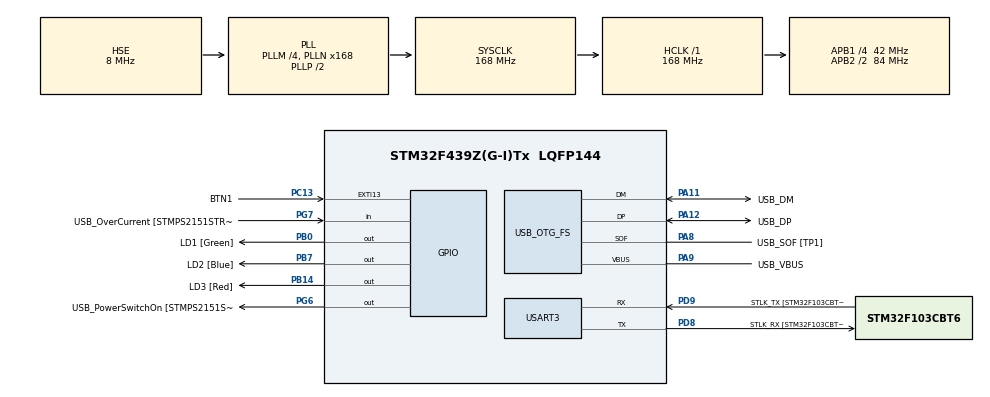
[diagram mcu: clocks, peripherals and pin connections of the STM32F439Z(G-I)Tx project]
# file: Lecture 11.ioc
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Mcu.Family=STM32F4
Mcu.Name=STM32F439Z(G-I)Tx
Mcu.Package=LQFP144
NVIC.OTG_FS_IRQn=true\:0\:0\:false\:false\:true\:false\:true\:true
NVIC.PriorityGroup=NVIC_PRIORITYGROUP_4
PA1.GPIO_Label=RMII_REF_CLK [LAN8742A-CZ-TR_REFCLK0]
PA1.Signal=ETH_REF_CLK
PA10.GPIO_Label=USB_ID
PA10.Signal=USB_OTG_FS_ID
PA11.GPIO_Label=USB_DM
PA11.Mode=Device_Only
PA11.Signal=USB_OTG_FS_DM
PA12.GPIO_Label=USB_DP
PA12.Mode=Device_Only
PA12.Signal=USB_OTG_FS_DP
PA13.GPIO_Label=TMS
PA13.Mode=Serial_Wire
PA13.Signal=SYS_JTMS-SWDIO
PA14.GPIO_Label=TCK
PA14.Mode=Serial_Wire
PA14.Signal=SYS_JTCK-SWCLK
PA2.GPIO_Label=RMII_MDIO [LAN8742A-CZ-TR_MDIO]
PA2.Signal=ETH_MDIO
PA7.GPIO_Label=RMII_CRS_DV [LAN8742A-CZ-TR_CRS_DV]
PA7.Signal=ETH_CRS_DV
PA8.GPIO_Label=USB_SOF [TP1]
PA8.Mode=Activate_SOF_FS
PA8.Signal=USB_OTG_FS_SOF
PA9.GPIO_Label=USB_VBUS
PA9.Mode=Activate_VBUS
PA9.Signal=USB_OTG_FS_VBUS
PB0.GPIO_Label=LD1 [Green]
PB0.Signal=GPIO_Output
PB13.GPIO_Label=RMII_TXD1 [LAN8742A-CZ-TR_TXD1]
PB13.Signal=ETH_TXD1
PB14.GPIO_Label=LD3 [Red]
PB14.Signal=GPIO_Output
PB7.GPIO_Label=LD2 [Blue]
PB7.Signal=GPIO_Output
PC1.GPIO_Label=RMII_MDC [LAN8742A-CZ-TR_MDC]
PC1.Signal=ETH_MDC
PC13.GPIO_Label=BTN1
PC13.Signal=GPXTI13
PC14/OSC32_IN.Mode=LSE-External-Oscillator
PC14/OSC32_IN.Signal=RCC_OSC32_IN
PC15/OSC32_OUT.Mode=LSE-External-Oscillator
PC15/OSC32_OUT.Signal=RCC_OSC32_OUT
PC4.GPIO_Label=RMII_RXD0 [LAN8742A-CZ-TR_RXD0]
PC4.Signal=ETH_RXD0
PC5.GPIO_Label=RMII_RXD1 [LAN8742A-CZ-TR_RXD1]
PC5.Signal=ETH_RXD1
PD8.GPIO_Label=STLK_RX [STM32F103CBT6_PA3]
PD8.Mode=Asynchronous
PD8.Signal=USART3_TX
PD9.GPIO_Label=STLK_TX [STM32F103CBT6_PA2]
PD9.Mode=Asynchronous
PD9.Signal=USART3_RX
PG11.GPIO_Label=RMII_TX_EN [LAN8742A-CZ-TR_TXEN]
PG11.Signal=ETH_TX_EN
PG13.GPIO_Label=RMII_TXD0 [LAN8742A-CZ-TR_TXD0]
PG13.Signal=ETH_TXD0
PG6.GPIO_Label=USB_PowerSwitchOn [STMPS2151STR_EN]
PG6.Signal=GPIO_Output
PG7.GPIO_Label=USB_OverCurrent [STMPS2151STR_FAULT]
PG7.Signal=GPIO_Input
PH0/OSC_IN.GPIO_Label=MCO [STM32F103CBT6_PA8]
PH0/OSC_IN.Mode=HSE-External-Clock-Source
PH0/OSC_IN.Signal=RCC_OSC_IN
PH1/OSC_OUT.Mode=HSE-External-Clock-Source
PH1/OSC_OUT.Signal=RCC_OSC_OUT
ProjectManager.HeapSize=0x200
ProjectManager.StackSize=0x400
ProjectManager.TargetToolchain=STM32CubeIDE
RCC.48MHZClocksFreq_Value=48000000
RCC.AHBFreq_Value=168000000
RCC.APB1CLKDivider=RCC_HCLK_DIV4
RCC.APB1Freq_Value=42000000
RCC.APB1TimFreq_Value=84000000
RCC.APB2CLKDivider=RCC_HCLK_DIV2
RCC.APB2Freq_Value=84000000
RCC.APB2TimCLKDivider=2
RCC.APB2TimFreq_Value=168000000
RCC.CortexFreq_Value=168000000
RCC.HCLKFreq_Value=168000000
RCC.HSE_VALUE=8000000
RCC.HSI_VALUE=16000000
RCC.PLLM=4
RCC.PLLMUL=RCC_PLL_MUL9
RCC.PLLN=168
RCC.PLLQ=7
RCC.PRESCALERUSB=RCC_USBCLKSOURCE_PLL_DIV1_5
RCC.SYSCLKFreq_VALUE=168000000
RCC.SYSCLKSource=RCC_SYSCLKSOURCE_PLLCLK
RCC.SYSCLKSourceVirtual=RCC_SYSCLKSOURCE_PLLCLK
RCC.USBFreq_Value=48000000
RCC.VCOOutputFreq_Value=336000000
USART3.VirtualMode=VM_ASYNC
USB_DEVICE.CLASS_NAME_FS=HID
USB_DEVICE.VirtualMode-HID_FS=Hid
USB_DEVICE.VirtualModeFS=Hid_FS
USB_OTG_FS.VirtualMode=Device_Only
VP_USB_DEVICE_VS_USB_DEVICE_HID_FS.Mode=HID_FS
board=NUCLEO-F439ZI

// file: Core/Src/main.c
/* USER CODE BEGIN Header */
/**
  ******************************************************************************
  * @file           : main.c
  * @brief          : Main program body
  ******************************************************************************
  * @attention
  *
  * Copyright (c) 2024 STMicroelectronics.
  * All rights reserved.
  *
  * This software is licensed under terms that can be found in the LICENSE file
  * in the root directory of this software component.
  * If no LICENSE file comes with this software, it is provided AS-IS.
  *
  ******************************************************************************
  */
/* USER CODE END Header */
#include "main.h"
#include "usb_device.h"

/* USER CODE BEGIN Includes */
#include "usbd_hid.h"
#include <math.h>
#include <stdbool.h>
/* USER CODE END Includes */

/* USER CODE BEGIN PD */
#define BTN_PRESSED 1
#define BTN_RELEASED 0
/* USER CODE END PD */

UART_HandleTypeDef huart3;

/* USER CODE BEGIN PV */
extern USBD_HandleTypeDef hUsbDeviceFS;
/* USER CODE END PV */

void SystemClock_Config(void);
static void MX_GPIO_Init(void);
static void MX_USART3_UART_Init(void);

/* USER CODE BEGIN 0 */
void step(int x, int y, uint8_t btn) {
	uint8_t buff[4];
	buff[0] = 0x00 | btn; // stiskni leve tlacitko
	buff[1] = (int8_t)(x); // posun X +10
	buff[2] = (int8_t)(y); // posun Y -3
	buff[3] = 0; // bez scrollu
	USBD_HID_SendReport(&hUsbDeviceFS, buff, sizeof(buff));
	HAL_Delay(USBD_HID_GetPollingInterval(&hUsbDeviceFS));
}

void draw_circle(float radius, int px, int py) {
	int x = 0, y = 0;

	step(px, py, 0);

	for (int i = 0; i <= 360; i++) {
		x = round(radius * cos(i*(M_PI/180)));
		y = round(radius * sin(i*(M_PI/180)));

		step((int)x, (int)y, 1);
	}

	step(0, 0, 0);
}

void draw_mouth(float radius) {
	int x = 0, y = 0;

	for (int i = 90; i <= 270; i++) {
		x = round(radius * cos(i*(M_PI/180)));
		y = round(radius * sin(i*(M_PI/180)));

		step((int)x, (int)y, 1);
	}

	step(0, 0, 0);
}

/* USER CODE END 0 */

int main(void)
{

  /* MCU Configuration--------------------------------------------------------*/

  /* Reset of all peripherals, Initializes the Flash interface and the Systick. */
  HAL_Init();

  /* Configure the system clock */
  SystemClock_Config();

  /* Initialize all configured peripherals */
  MX_GPIO_Init();
  MX_USART3_UART_Init();
  MX_USB_DEVICE_Init();

  /* Infinite loop */
  /* USER CODE BEGIN WHILE */
  while (1)
  {
	  if (HAL_GPIO_ReadPin(BTN1_GPIO_Port, BTN1_Pin)) {
		  draw_circle(1, 0, 0);
		  step(100, 0, BTN_RELEASED);
		  draw_circle(1, 0, 0);
		  step(-50, 40, BTN_PRESSED);
		  step(0, 30, BTN_RELEASED);
		  step(50, 20, BTN_PRESSED);
		  draw_mouth(3);
		  step(75, -120, BTN_RELEASED);
		  step(0, -25, BTN_PRESSED);
		  draw_circle(5, 0, 0);
		  step(0, 0, BTN_RELEASED);
	  }
    /* USER CODE END WHILE */

  }
}

void SystemClock_Config(void)
{
  RCC_OscInitTypeDef RCC_OscInitStruct = {0};
  RCC_ClkInitTypeDef RCC_ClkInitStruct = {0};

  /** Configure the main internal regulator output voltage
  */
  __HAL_RCC_PWR_CLK_ENABLE();
  __HAL_PWR_VOLTAGESCALING_CONFIG(PWR_REGULATOR_VOLTAGE_SCALE1);

  /** Initializes the RCC Oscillators according to the specified parameters
  * in the RCC_OscInitTypeDef structure.
  */
  RCC_OscInitStruct.OscillatorType = RCC_OSCILLATORTYPE_HSE;
  RCC_OscInitStruct.HSEState = RCC_HSE_BYPASS;
  RCC_OscInitStruct.PLL.PLLState = RCC_PLL_ON;
  RCC_OscInitStruct.PLL.PLLSource = RCC_PLLSOURCE_HSE;
  RCC_OscInitStruct.PLL.PLLM = 4;
  RCC_OscInitStruct.PLL.PLLN = 168;
  RCC_OscInitStruct.PLL.PLLP = RCC_PLLP_DIV2;
  RCC_OscInitStruct.PLL.PLLQ = 7;
  if (HAL_RCC_OscConfig(&RCC_OscInitStruct) != HAL_OK)
  {
    Error_Handler();
  }

  /** Initializes the CPU, AHB and APB buses clocks
  */
  RCC_ClkInitStruct.ClockType = RCC_CLOCKTYPE_HCLK|RCC_CLOCKTYPE_SYSCLK
                              |RCC_CLOCKTYPE_PCLK1|RCC_CLOCKTYPE_PCLK2;
  RCC_ClkInitStruct.SYSCLKSource = RCC_SYSCLKSOURCE_PLLCLK;
  RCC_ClkInitStruct.AHBCLKDivider = RCC_SYSCLK_DIV1;
  RCC_ClkInitStruct.APB1CLKDivider = RCC_HCLK_DIV4;
  RCC_ClkInitStruct.APB2CLKDivider = RCC_HCLK_DIV2;

  if (HAL_RCC_ClockConfig(&RCC_ClkInitStruct, FLASH_LATENCY_5) != HAL_OK)
  {
    Error_Handler();
  }
}

static void MX_USART3_UART_Init(void)
{

  huart3.Instance = USART3;
  huart3.Init.BaudRate = 115200;
  huart3.Init.WordLength = UART_WORDLENGTH_8B;
  huart3.Init.StopBits = UART_STOPBITS_1;
  huart3.Init.Parity = UART_PARITY_NONE;
  huart3.Init.Mode = UART_MODE_TX_RX;
  huart3.Init.HwFlowCtl = UART_HWCONTROL_NONE;
  huart3.Init.OverSampling = UART_OVERSAMPLING_16;
  if (HAL_UART_Init(&huart3) != HAL_OK)
  {
    Error_Handler();
  }

}

static void MX_GPIO_Init(void)
{
  GPIO_InitTypeDef GPIO_InitStruct = {0};

  /* GPIO Ports Clock Enable */
  __HAL_RCC_GPIOC_CLK_ENABLE();
  __HAL_RCC_GPIOH_CLK_ENABLE();
  __HAL_RCC_GPIOA_CLK_ENABLE();
  __HAL_RCC_GPIOB_CLK_ENABLE();
  __HAL_RCC_GPIOD_CLK_ENABLE();
  __HAL_RCC_GPIOG_CLK_ENABLE();

  /*Configure GPIO pin Output Level */
  HAL_GPIO_WritePin(GPIOB, LD1_Pin|LD3_Pin|LD2_Pin, GPIO_PIN_RESET);

  /*Configure GPIO pin Output Level */
  HAL_GPIO_WritePin(USB_PowerSwitchOn_GPIO_Port, USB_PowerSwitchOn_Pin, GPIO_PIN_RESET);

  /*Configure GPIO pin : BTN1_Pin */
  GPIO_InitStruct.Pin = BTN1_Pin;
  GPIO_InitStruct.Mode = GPIO_MODE_IT_RISING;
  GPIO_InitStruct.Pull = GPIO_NOPULL;
  HAL_GPIO_Init(BTN1_GPIO_Port, &GPIO_InitStruct);

  /*Configure GPIO pins : RMII_MDC_Pin RMII_RXD0_Pin RMII_RXD1_Pin */
  GPIO_InitStruct.Pin = RMII_MDC_Pin|RMII_RXD0_Pin|RMII_RXD1_Pin;
  GPIO_InitStruct.Mode = GPIO_MODE_AF_PP;
  GPIO_InitStruct.Pull = GPIO_NOPULL;
  GPIO_InitStruct.Speed = GPIO_SPEED_FREQ_VERY_HIGH;
  GPIO_InitStruct.Alternate = GPIO_AF11_ETH;
  HAL_GPIO_Init(GPIOC, &GPIO_InitStruct);

  /*Configure GPIO pins : RMII_REF_CLK_Pin RMII_MDIO_Pin RMII_CRS_DV_Pin */
  GPIO_InitStruct.Pin = RMII_REF_CLK_Pin|RMII_MDIO_Pin|RMII_CRS_DV_Pin;
  GPIO_InitStruct.Mode = GPIO_MODE_AF_PP;
  GPIO_InitStruct.Pull = GPIO_NOPULL;
  GPIO_InitStruct.Speed = GPIO_SPEED_FREQ_VERY_HIGH;
  GPIO_InitStruct.Alternate = GPIO_AF11_ETH;
  HAL_GPIO_Init(GPIOA, &GPIO_InitStruct);

  /*Configure GPIO pins : LD1_Pin LD3_Pin LD2_Pin */
  GPIO_InitStruct.Pin = LD1_Pin|LD3_Pin|LD2_Pin;
  GPIO_InitStruct.Mode = GPIO_MODE_OUTPUT_PP;
  GPIO_InitStruct.Pull = GPIO_NOPULL;
  GPIO_InitStruct.Speed = GPIO_SPEED_FREQ_LOW;
  HAL_GPIO_Init(GPIOB, &GPIO_InitStruct);

  /*Configure GPIO pin : RMII_TXD1_Pin */
  GPIO_InitStruct.Pin = RMII_TXD1_Pin;
  GPIO_InitStruct.Mode = GPIO_MODE_AF_PP;
  GPIO_InitStruct.Pull = GPIO_NOPULL;
  GPIO_InitStruct.Speed = GPIO_SPEED_FREQ_VERY_HIGH;
  GPIO_InitStruct.Alternate = GPIO_AF11_ETH;
  HAL_GPIO_Init(RMII_TXD1_GPIO_Port, &GPIO_InitStruct);

  /*Configure GPIO pin : USB_PowerSwitchOn_Pin */
  GPIO_InitStruct.Pin = USB_PowerSwitchOn_Pin;
  GPIO_InitStruct.Mode = GPIO_MODE_OUTPUT_PP;
  GPIO_InitStruct.Pull = GPIO_NOPULL;
  GPIO_InitStruct.Speed = GPIO_SPEED_FREQ_LOW;
  HAL_GPIO_Init(USB_PowerSwitchOn_GPIO_Port, &GPIO_InitStruct);

  /*Configure GPIO pin : USB_OverCurrent_Pin */
  GPIO_InitStruct.Pin = USB_OverCurrent_Pin;
  GPIO_InitStruct.Mode = GPIO_MODE_INPUT;
  GPIO_InitStruct.Pull = GPIO_NOPULL;
  HAL_GPIO_Init(USB_OverCurrent_GPIO_Port, &GPIO_InitStruct);

  /*Configure GPIO pins : RMII_TX_EN_Pin RMII_TXD0_Pin */
  GPIO_InitStruct.Pin = RMII_TX_EN_Pin|RMII_TXD0_Pin;
  GPIO_InitStruct.Mode = GPIO_MODE_AF_PP;
  GPIO_InitStruct.Pull = GPIO_NOPULL;
  GPIO_InitStruct.Speed = GPIO_SPEED_FREQ_VERY_HIGH;
  GPIO_InitStruct.Alternate = GPIO_AF11_ETH;
  HAL_GPIO_Init(GPIOG, &GPIO_InitStruct);

}

void Error_Handler(void)
{
  __disable_irq();
  while (1)
  {
  }
}
